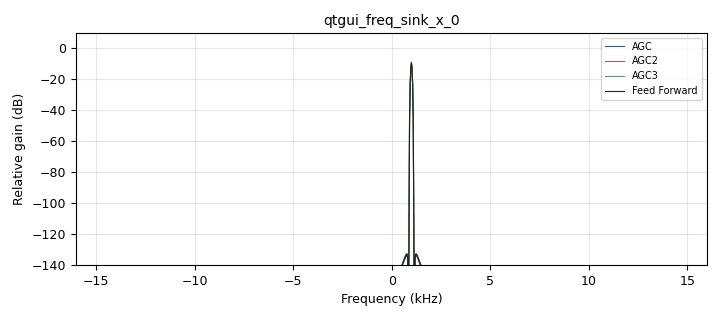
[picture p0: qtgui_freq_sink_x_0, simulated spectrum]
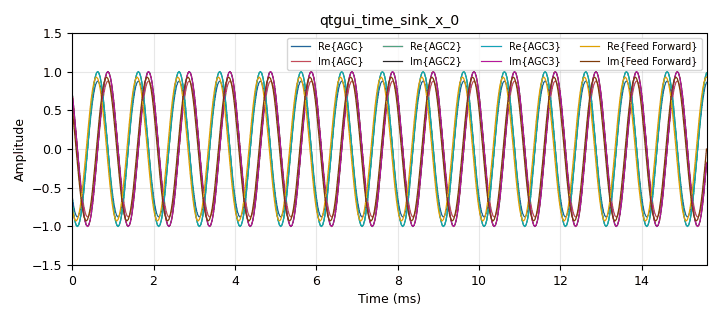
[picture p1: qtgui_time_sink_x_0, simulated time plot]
<?xml version='1.0' encoding='utf-8'?>
<?grc format='1' created='3.7.7'?>
<flow_graph>
<block>
<key>options</key>
<param><key>id</key><value>analog_agc</value></param>
<param><key>generate_options</key><value>qt_gui</value></param>
<param><key>category</key><value>Custom</value></param>
<param><key>run_options</key><value>run</value></param>
</block>
<block>
<key>variable</key>
<param><key>id</key><value>samp_rate</value></param>
<param><key>value</key><value>32000</value></param>
</block>
<block>
<key>variable_qtgui_range</key>
<param><key>id</key><value>amp</value></param>
<param><key>label</key><value>Amplitude</value></param>
<param><key>value</key><value>0.1</value></param>
<param><key>start</key><value>0</value></param>
<param><key>stop</key><value>100</value></param>
<param><key>step</key><value>0.1</value></param>
<param><key>orient</key><value>Qt.Horizontal</value></param>
</block>
<block>
<key>blocks_throttle</key>
<param><key>id</key><value>blocks_throttle_0</value></param>
<param><key>type</key><value>complex</value></param>
<param><key>samples_per_second</key><value>samp_rate</value></param>
</block>
<block>
<key>analog_sig_source_x</key>
<param><key>id</key><value>analog_sig_source_x_0</value></param>
<param><key>type</key><value>complex</value></param>
<param><key>samp_rate</key><value>samp_rate</value></param>
<param><key>waveform</key><value>analog.GR_COS_WAVE</value></param>
<param><key>freq</key><value>1000</value></param>
<param><key>amp</key><value>amp</value></param>
<param><key>offset</key><value>0</value></param>
</block>
<block>
<key>analog_agc_xx</key>
<param><key>id</key><value>analog_agc_xx_0</value></param>
<param><key>type</key><value>complex</value></param>
<param><key>rate</key><value>1e-4</value></param>
<param><key>reference</key><value>1.0</value></param>
<param><key>gain</key><value>1.0</value></param>
<param><key>max_gain</key><value>65536</value></param>
</block>
<block>
<key>analog_agc2_xx</key>
<param><key>id</key><value>analog_agc2_xx_0</value></param>
<param><key>type</key><value>complex</value></param>
<param><key>attack_rate</key><value>1e-1</value></param>
<param><key>decay_rate</key><value>1e-2</value></param>
<param><key>reference</key><value>1.0</value></param>
<param><key>gain</key><value>1.0</value></param>
<param><key>max_gain</key><value>65536</value></param>
</block>
<block>
<key>analog_agc3_xx</key>
<param><key>id</key><value>analog_agc3_xx_0</value></param>
<param><key>type</key><value>complex</value></param>
<param><key>attack_rate</key><value>1e-3</value></param>
<param><key>decay_rate</key><value>1e-4</value></param>
<param><key>reference</key><value>1.0</value></param>
<param><key>gain</key><value>1.0</value></param>
<param><key>max_gain</key><value>65536</value></param>
<param><key>iir_update_decim</key><value>1</value></param>
</block>
<block>
<key>analog_feedforward_agc_cc</key>
<param><key>id</key><value>analog_feedforward_agc_cc_0</value></param>
<param><key>num_samples</key><value>1024</value></param>
<param><key>reference</key><value>1.0</value></param>
</block>
<block>
<key>qtgui_freq_sink_x</key>
<param><key>id</key><value>qtgui_freq_sink_x_0</value></param>
<param><key>type</key><value>complex</value></param>
<param><key>fftsize</key><value>1024</value></param>
<param><key>wintype</key><value>firdes.WIN_BLACKMAN_hARRIS</value></param>
<param><key>fc</key><value>0</value></param>
<param><key>bw</key><value>samp_rate</value></param>
<param><key>nconnections</key><value>4</value></param>
<param><key>showports</key><value>True</value></param>
<param><key>label1</key><value>AGC</value></param>
<param><key>color1</key><value>"red"</value></param>
<param><key>label2</key><value>AGC2</value></param>
<param><key>color2</key><value>"blue"</value></param>
<param><key>label3</key><value>AGC3</value></param>
<param><key>label4</key><value>Feed Forward</value></param>
</block>
<block>
<key>qtgui_time_sink_x</key>
<param><key>id</key><value>qtgui_time_sink_x_0</value></param>
<param><key>type</key><value>complex</value></param>
<param><key>name</key><value></value></param>
<param><key>size</key><value>500</value></param>
<param><key>srate</key><value>samp_rate</value></param>
<param><key>ymin</key><value>-1.5</value></param>
<param><key>ymax</key><value>1.5</value></param>
<param><key>nconnections</key><value>4</value></param>
<param><key>label1</key><value>Re{AGC}</value></param>
<param><key>color1</key><value>"blue"</value></param>
<param><key>label2</key><value>Im{AGC}</value></param>
<param><key>color2</key><value>"red"</value></param>
<param><key>label3</key><value>Re{AGC2}</value></param>
<param><key>color3</key><value>"green"</value></param>
<param><key>label4</key><value>Im{AGC2}</value></param>
<param><key>color4</key><value>"black"</value></param>
<param><key>label5</key><value>Re{AGC3}</value></param>
<param><key>color5</key><value>"cyan"</value></param>
<param><key>label6</key><value>Im{AGC3}</value></param>
<param><key>color6</key><value>"magenta"</value></param>
<param><key>label7</key><value>Re{Feed Forward}</value></param>
<param><key>color7</key><value>"yellow"</value></param>
<param><key>label8</key><value>Im{Feed Forward}</value></param>
<param><key>color8</key><value>"dark red"</value></param>
</block>
<connection><source_block_id>blocks_throttle_0</source_block_id><sink_block_id>analog_agc3_xx_0</sink_block_id><source_key>0</source_key><sink_key>0</sink_key></connection>
<connection><source_block_id>analog_sig_source_x_0</source_block_id><sink_block_id>blocks_throttle_0</sink_block_id><source_key>0</source_key><sink_key>0</sink_key></connection>
<connection><source_block_id>blocks_throttle_0</source_block_id><sink_block_id>analog_agc_xx_0</sink_block_id><source_key>0</source_key><sink_key>0</sink_key></connection>
<connection><source_block_id>blocks_throttle_0</source_block_id><sink_block_id>analog_agc2_xx_0</sink_block_id><source_key>0</source_key><sink_key>0</sink_key></connection>
<connection><source_block_id>blocks_throttle_0</source_block_id><sink_block_id>analog_feedforward_agc_cc_0</sink_block_id><source_key>0</source_key><sink_key>0</sink_key></connection>
<connection><source_block_id>analog_agc_xx_0</source_block_id><sink_block_id>qtgui_time_sink_x_0</sink_block_id><source_key>0</source_key><sink_key>0</sink_key></connection>
<connection><source_block_id>analog_agc2_xx_0</source_block_id><sink_block_id>qtgui_time_sink_x_0</sink_block_id><source_key>0</source_key><sink_key>1</sink_key></connection>
<connection><source_block_id>analog_agc3_xx_0</source_block_id><sink_block_id>qtgui_time_sink_x_0</sink_block_id><source_key>0</source_key><sink_key>2</sink_key></connection>
<connection><source_block_id>analog_feedforward_agc_cc_0</source_block_id><sink_block_id>qtgui_time_sink_x_0</sink_block_id><source_key>0</source_key><sink_key>3</sink_key></connection>
<connection><source_block_id>analog_agc_xx_0</source_block_id><sink_block_id>qtgui_freq_sink_x_0</sink_block_id><source_key>0</source_key><sink_key>0</sink_key></connection>
<connection><source_block_id>analog_agc2_xx_0</source_block_id><sink_block_id>qtgui_freq_sink_x_0</sink_block_id><source_key>0</source_key><sink_key>1</sink_key></connection>
<connection><source_block_id>analog_agc3_xx_0</source_block_id><sink_block_id>qtgui_freq_sink_x_0</sink_block_id><source_key>0</source_key><sink_key>2</sink_key></connection>
<connection><source_block_id>analog_feedforward_agc_cc_0</source_block_id><sink_block_id>qtgui_freq_sink_x_0</sink_block_id><source_key>0</source_key><sink_key>3</sink_key></connection>
</flow_graph>
